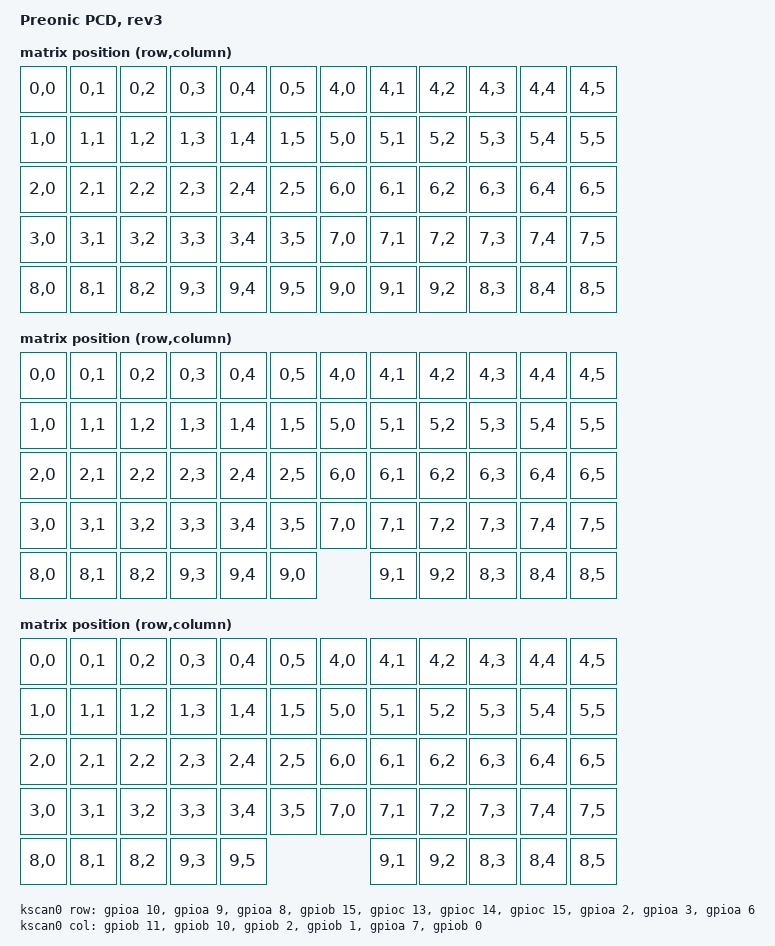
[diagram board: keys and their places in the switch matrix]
/*
 * Copyright (c) 2022 The ZMK Contributors
 *
 * SPDX-License-Identifier: MIT
 */

/dts-v1/;
#include <st/f3/stm32f303Xc.dtsi>
#include <st/f3/stm32f303c(b-c)tx-pinctrl.dtsi>
#include <dt-bindings/zmk/matrix_transform.h>


/ {
    model = "Preonic PCD, rev3";
    compatible = "preonic,rev3", "st,stm32f303";

    chosen {
        zephyr,sram = &sram0;
        zephyr,flash = &flash0;
        zephyr,console = &cdc_acm_uart;
        zmk,kscan = &kscan0;
        zmk,matrix-transform = &layout_grid_transform;
    };

    kscan0: kscan_0 {
        compatible = "zmk,kscan-gpio-matrix";
        diode-direction = "col2row";
        row-gpios
            = <&gpioa 10 (GPIO_ACTIVE_HIGH | GPIO_PULL_DOWN)>
            , <&gpioa 9 (GPIO_ACTIVE_HIGH | GPIO_PULL_DOWN)>
            , <&gpioa 8 (GPIO_ACTIVE_HIGH | GPIO_PULL_DOWN)>
            , <&gpiob 15 (GPIO_ACTIVE_HIGH | GPIO_PULL_DOWN)>
            , <&gpioc 13 (GPIO_ACTIVE_HIGH | GPIO_PULL_DOWN)>
            , <&gpioc 14 (GPIO_ACTIVE_HIGH | GPIO_PULL_DOWN)>
            , <&gpioc 15 (GPIO_ACTIVE_HIGH | GPIO_PULL_DOWN)>
            , <&gpioa 2 (GPIO_ACTIVE_HIGH | GPIO_PULL_DOWN)>
            , <&gpioa 3 (GPIO_ACTIVE_HIGH | GPIO_PULL_DOWN)>
            , <&gpioa 6 (GPIO_ACTIVE_HIGH | GPIO_PULL_DOWN)>
            ;
        col-gpios
            = <&gpiob 11 GPIO_ACTIVE_HIGH>
            , <&gpiob 10 GPIO_ACTIVE_HIGH>
            , <&gpiob 2  GPIO_ACTIVE_HIGH>
            , <&gpiob 1  GPIO_ACTIVE_HIGH>
            , <&gpioa 7  GPIO_ACTIVE_HIGH>
            , <&gpiob 0  GPIO_ACTIVE_HIGH>
            ;
    };

    layout_grid_transform:
    keymap_transform_0 {
        compatible = "zmk,matrix-transform";
        columns = <6>;
        rows = <10>;
        map = <
            RC(0,0) RC(0,1) RC(0,2) RC(0,3) RC(0,4) RC(0,5) RC(4,0) RC(4,1) RC(4,2) RC(4,3) RC(4,4) RC(4,5)
            RC(1,0) RC(1,1) RC(1,2) RC(1,3) RC(1,4) RC(1,5) RC(5,0) RC(5,1) RC(5,2) RC(5,3) RC(5,4) RC(5,5)
            RC(2,0) RC(2,1) RC(2,2) RC(2,3) RC(2,4) RC(2,5) RC(6,0) RC(6,1) RC(6,2) RC(6,3) RC(6,4) RC(6,5)
            RC(3,0) RC(3,1) RC(3,2) RC(3,3) RC(3,4) RC(3,5) RC(7,0) RC(7,1) RC(7,2) RC(7,3) RC(7,4) RC(7,5)
            RC(8,0) RC(8,1) RC(8,2) RC(9,3) RC(9,4) RC(9,5) RC(9,0) RC(9,1) RC(9,2) RC(8,3) RC(8,4) RC(8,5)
            >;
    };

    layout_mit_transform:
    keymap_transform_1 {
        compatible = "zmk,matrix-transform";
        columns = <6>;
        rows = <10>;
        map = <
            RC(0,0) RC(0,1) RC(0,2) RC(0,3) RC(0,4) RC(0,5) RC(4,0) RC(4,1) RC(4,2) RC(4,3) RC(4,4) RC(4,5)
            RC(1,0) RC(1,1) RC(1,2) RC(1,3) RC(1,4) RC(1,5) RC(5,0) RC(5,1) RC(5,2) RC(5,3) RC(5,4) RC(5,5)
            RC(2,0) RC(2,1) RC(2,2) RC(2,3) RC(2,4) RC(2,5) RC(6,0) RC(6,1) RC(6,2) RC(6,3) RC(6,4) RC(6,5)
            RC(3,0) RC(3,1) RC(3,2) RC(3,3) RC(3,4) RC(3,5) RC(7,0) RC(7,1) RC(7,2) RC(7,3) RC(7,4) RC(7,5)
            RC(8,0) RC(8,1) RC(8,2) RC(9,3) RC(9,4)     RC(9,0)     RC(9,1) RC(9,2) RC(8,3) RC(8,4) RC(8,5)
            >;
    };

    layout_2x2u_transform:
    keymap_transform_2 {
        compatible = "zmk,matrix-transform";
        columns = <6>;
        rows = <10>;
        map = <
            RC(0,0) RC(0,1) RC(0,2) RC(0,3) RC(0,4) RC(0,5) RC(4,0) RC(4,1) RC(4,2) RC(4,3) RC(4,4) RC(4,5)
            RC(1,0) RC(1,1) RC(1,2) RC(1,3) RC(1,4) RC(1,5) RC(5,0) RC(5,1) RC(5,2) RC(5,3) RC(5,4) RC(5,5)
            RC(2,0) RC(2,1) RC(2,2) RC(2,3) RC(2,4) RC(2,5) RC(6,0) RC(6,1) RC(6,2) RC(6,3) RC(6,4) RC(6,5)
            RC(3,0) RC(3,1) RC(3,2) RC(3,3) RC(3,4) RC(3,5) RC(7,0) RC(7,1) RC(7,2) RC(7,3) RC(7,4) RC(7,5)
            RC(8,0) RC(8,1) RC(8,2) RC(9,3)       RC(9,5)      RC(9,1)      RC(9,2) RC(8,3) RC(8,4) RC(8,5)
            >;
    };
};

&usb {
    pinctrl-0 = <&usb_dm_pa11 &usb_dp_pa12>;
    pinctrl-names = "default";
    status = "okay";
cdc_acm_uart: cdc_acm_uart {
        compatible = "zephyr,cdc-acm-uart";
    };
};

&clk_hse {
    status = "okay";
    clock-frequency = <DT_FREQ_M(8)>;
};

&pll {
    prediv = <1>;
    mul = <9>;
    clocks = <&clk_hse>;
    status = "okay";
};

&rcc {
    clocks = <&pll>;
    clock-frequency = <DT_FREQ_M(72)>;
    ahb-prescaler = <1>;
    apb1-prescaler = <2>;
    apb2-prescaler = <1>;
};

&flash0 {
    /*
     * For more information, see:
     * http://docs.zephyrproject.org/latest/guides/dts/index.html#flash-partitions
     */
    partitions {
        compatible = "fixed-partitions";
        #address-cells = <1>;
        #size-cells = <1>;

        /* Set 6Kb of storage at the end of the 256Kb of flash */
        storage_partition: partition@3e800 {
            reg = <0x0003e800 0x00001800>;
        };
    };
};
